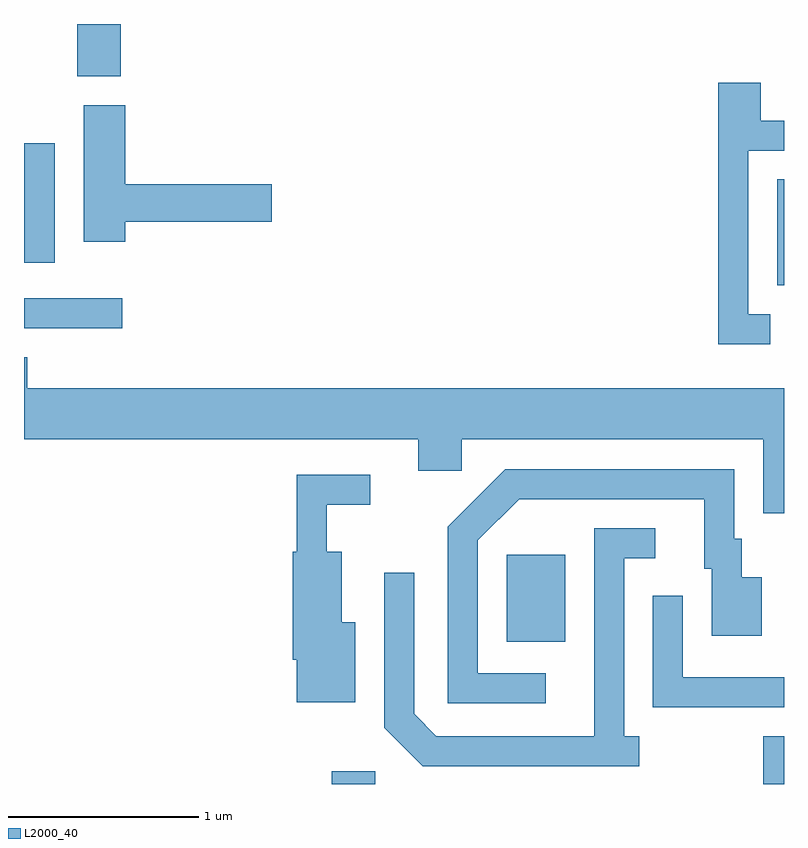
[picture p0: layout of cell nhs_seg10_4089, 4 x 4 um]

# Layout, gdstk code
import gdstk
lib = gdstk.Library(unit=1e-6, precision=1e-09)
def R(c, l, rs):  # rectangles x0, y0, x1, y1
    for r in rs: c.add(gdstk.rectangle(r[:2], r[2:], *l))
def P(c, l, *ps):  # polygons
    for p in ps: c.add(gdstk.Polygon(p, *l))
L2000_40 = (2000, 40)

nhs_seg10_4089 = lib.new_cell('nhs_seg10_4089')
R(nhs_seg10_4089, L2000_40, [(307.231,2136.522,307.459,2136.589), (309.501,2136.522,309.611,2136.774), (308.151,2137.271,308.459,2137.729), (305.611,2138.921,306.128,2139.079), (309.576,2139.146,309.611,2139.704), (305.611,2139.266,305.774,2139.894), (305.891,2140.246,306.119,2140.522)])
P(nhs_seg10_4089, L2000_40, [(309.538,2138.994),(309.424,2138.994),(309.424,2139.856),(309.611,2139.856),(309.611,2140.014),(309.489,2140.014),(309.489,2140.214),(309.266,2140.214),(309.266,2138.836),(309.538,2138.836)],
  [(306.144,2139.481),(306.914,2139.481),(306.914,2139.679),(306.144,2139.679),(306.144,2140.094),(305.926,2140.094),(305.926,2139.376),(306.144,2139.376)],
  [(309.611,2138.604),(305.629,2138.604),(305.629,2138.769),(305.611,2138.769),(305.611,2138.336),(307.686,2138.336),(307.686,2138.171),(307.914,2138.171),(307.914,2138.336),(309.501,2138.336),(309.501,2137.946),(309.611,2137.946)],
  [(308.358,2137.104),(307.999,2137.104),(307.999,2137.804),(308.217,2138.021),(309.191,2138.021),(309.191,2137.656),(309.231,2137.656),(309.231,2137.301),(309.494,2137.301),(309.494,2137.609),(309.389,2137.609),(309.389,2137.814),(309.349,2137.814),(309.349,2138.179),(308.144,2138.179),(307.841,2137.877),(307.841,2136.946),(308.358,2136.946)],
  [(307.354,2137.374),(307.284,2137.374),(307.284,2137.744),(307.204,2137.744),(307.204,2137.991),(307.433,2137.991),(307.433,2138.149),(307.046,2138.149),(307.046,2137.744),(307.026,2137.744),(307.026,2137.176),(307.046,2137.176),(307.046,2136.951),(307.354,2136.951)],
  [(308.848,2136.774),(308.769,2136.774),(308.769,2137.711),(308.933,2137.711),(308.933,2137.869),(308.611,2137.869),(308.611,2136.774),(307.782,2136.774),(307.664,2136.892),(307.664,2137.633),(307.506,2137.633),(307.506,2136.819),(307.709,2136.616),(308.848,2136.616)],
  [(309.611,2137.084),(309.079,2137.084),(309.079,2137.513),(308.921,2137.513),(308.921,2136.926),(309.611,2136.926)])

lib.write_gds('nhs_seg10_4089.gds')
